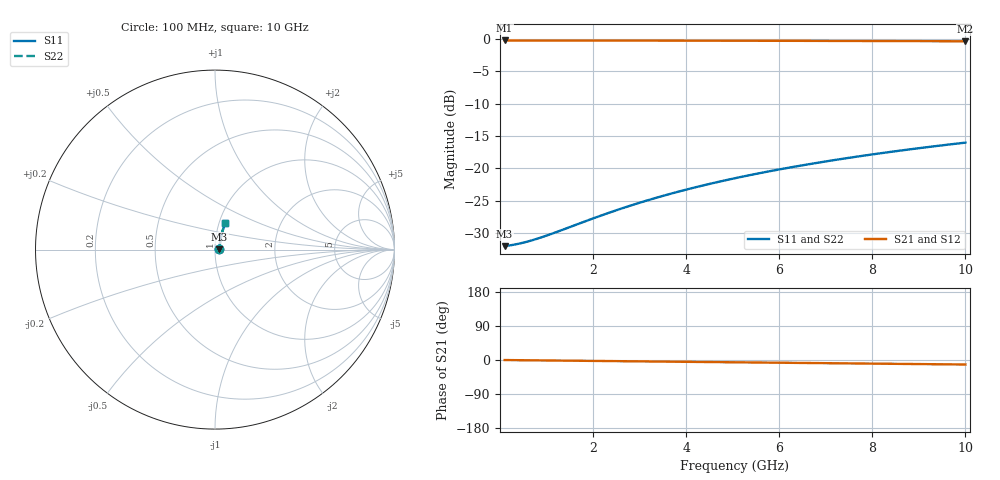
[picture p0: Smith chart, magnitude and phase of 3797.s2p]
# Hz S RI R 50.00
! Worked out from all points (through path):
!   100 points, 100 MHz to 10 GHz, reference 50 ohm
!   highest |S21| = -0.22 dB at 100 MHz (marker M1); lowest = -0.3 dB at 10 GHz (marker M2)
!   group delay of S21, straight-line fit = 3.31 ps
!   lowest |S11| = -32.0 dB at 100 MHz (marker M3), VSWR 1.05, Z = 52.6 + j0.161 ohm
!   |S11| at or under -10 dB: start of sweep to end of sweep
!   |S22| runs from -32.0 to -16.0 dB; largest |S21 - S12| = 0
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1e8  0.025 0.00153  0.975 -0.00204  0.975 -0.00204  0.025 0.00153
3e8  0.0253 0.00459  0.9747 -0.00613  0.9747 -0.00613  0.0253 0.00459
4e8  0.0254 0.00612  0.9746 -0.00817  0.9746 -0.00817  0.0254 0.00612
6e8  0.0256 0.00918  0.9744 -0.0123  0.9744 -0.0123  0.0256 0.00918
8e8  0.0258 0.0122  0.9742 -0.0163  0.9742 -0.0163  0.0258 0.0122
1.2e9  0.0263 0.0183  0.9737 -0.0245  0.9737 -0.0245  0.0263 0.0183
1.8e9  0.027 0.0275  0.9729 -0.0367  0.9729 -0.0367  0.027 0.0275
2.2e9  0.0277 0.0336  0.9723 -0.0448  0.9723 -0.0448  0.0277 0.0336
2.6e9  0.0284 0.0396  0.9715 -0.0529  0.9715 -0.0529  0.0284 0.0396
3e9  0.0292 0.0457  0.9707 -0.061  0.9707 -0.061  0.0292 0.0457
3.4e9  0.0301 0.0517  0.9697 -0.0691  0.9697 -0.0691  0.0301 0.0517
3.8e9  0.0311 0.0577  0.9687 -0.0772  0.9687 -0.0772  0.0311 0.0577
4.2e9  0.0322 0.0637  0.9676 -0.0852  0.9676 -0.0852  0.0322 0.0637
4.6e9  0.0333 0.0697  0.9664 -0.0932  0.9664 -0.0932  0.0333 0.0697
5.1e9  0.0349 0.0771  0.9647 -0.1032  0.9647 -0.1032  0.0349 0.0771
5.5e9  0.0363 0.083  0.9632 -0.1112  0.9632 -0.1112  0.0363 0.083
5.9e9  0.0378 0.0889  0.9617 -0.1191  0.9617 -0.1191  0.0378 0.0889
6.7e9  0.0411 0.1005  0.9583 -0.1349  0.9583 -0.1349  0.0411 0.1005
7.5e9  0.0447 0.1121  0.9545 -0.1505  0.9545 -0.1505  0.0447 0.1121
8.4e9  0.0492 0.1248  0.9498 -0.1679  0.9498 -0.1679  0.0492 0.1248
9.2e9  0.0536 0.136  0.9452 -0.1831  0.9452 -0.1831  0.0536 0.136
1e10  0.0584 0.1469  0.9402 -0.1982  0.9402 -0.1982  0.0584 0.1469
